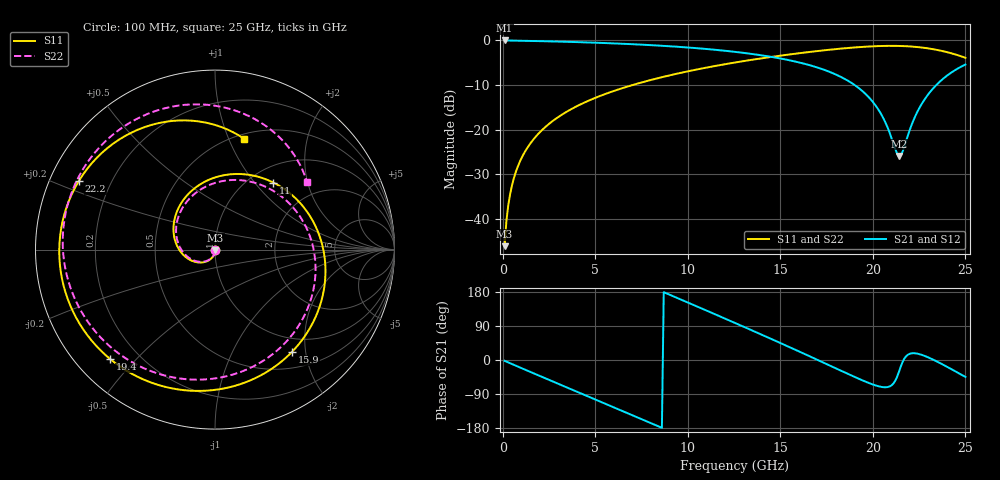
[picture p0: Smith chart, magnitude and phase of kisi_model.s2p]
! kisi B_s8_L1L3_stub_d300: fast channel model (formula impedances, via model), up to 25 GHz
# Hz S RI R 50
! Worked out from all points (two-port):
!   250 points, 100 MHz to 25 GHz, reference 50 ohm
!   highest |S21| = -0.02 dB at 100 MHz (marker M1); lowest = -25.9 dB at 21.4 GHz (marker M2)
!   |S21| within 3 dB of the highest: start of sweep to 13.42 GHz
!   lowest |S11| = -46.1 dB at 100 MHz (marker M3), VSWR 1.01, Z = 50.1 - j0.482 ohm
!   |S11| at or under -10 dB: start of sweep to 7.022 GHz
!   |S22| runs from -46.1 to -1.3 dB; largest |S21 - S12| = 0
!   S11 on the Smith chart (normalised r, x): 100 MHz: 1.00, -0.01; 11 GHz: 1.27, +1.25; 15.9 GHz: 0.76, -1.75; 19.4 GHz: 0.10, -0.42; 22.2 GHz: 0.09, +0.24; 25 GHz: 0.55, +1.14
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1e8  0.00112 -0.00481  0.9972 -0.0381  0.9972 -0.0381  0.00111 -0.00481
2e8  0.000586 -0.00959  0.9943 -0.0753  0.9943 -0.0753  0.000553 -0.00958
4e8  -0.00156 -0.019  0.9844 -0.1486  0.9844 -0.1486  -0.00171 -0.019
1.1e9  -0.0196 -0.0481  0.9089 -0.3915  0.9089 -0.3915  -0.0207 -0.0477
2.8e9  -0.1097 -0.0686  0.5055 -0.8304  0.5055 -0.8304  -0.1141 -0.0619
4.3e9  -0.196 -0.00584  0.00467 -0.9526  0.00467 -0.9526  -0.1963 0.0143
5.4e9  -0.2295 0.0844  -0.3576 -0.8645  -0.3576 -0.8645  -0.2168 0.115
6.6e9  -0.2144 0.2063  -0.6721 -0.6195  -0.6721 -0.6195  -0.1759 0.241
8.4e9  -0.0698 0.3712  -0.8715 -0.08  -0.8715 -0.08  0.0193 0.3769
9.6e9  0.0977 0.4206  -0.7938 0.2865  -0.7938 0.2865  0.2096 0.3755
1.1e10  0.3248 0.3737  -0.5223 0.6073  -0.5223 0.6073  0.4255 0.2453
1.26e10  0.5437 0.162  -0.0868 0.7368  -0.0868 0.7368  0.5578 -0.0564
1.42e10  0.6122 -0.1821  0.3113 0.5927  0.3113 0.5927  0.4673 -0.4222
1.59e10  0.4296 -0.569  0.5193 0.2427  0.5193 0.2427  0.1027 -0.6951
1.67e10  0.248 -0.7044  0.5147 0.0654  0.5147 0.0654  -0.1355 -0.7237
1.81e10  -0.1745 -0.783  0.3696 -0.1666  0.3696 -0.1666  -0.5579 -0.5625
1.94e10  -0.5838 -0.61  0.1651 -0.2189  0.1651 -0.2189  -0.8166 -0.1769
2.09e10  -0.8594 -0.1226  0.0319 -0.0873  0.0319 -0.0873  -0.7618 0.4012
2.14e10  -0.8628 0.0775  0.0428 -0.0273  0.0428 -0.0273  -0.6431 0.5705
2.22e10  -0.758 0.3835  0.1219 0.0396  0.1219 0.0396  -0.3687 0.7588
2.36e10  -0.3162 0.7043  0.3393 -0.0441  0.3393 -0.0441  0.1886 0.7441
2.5e10  0.1633 0.6165  0.3817 -0.3765  0.3817 -0.3765  0.5133 0.3744
